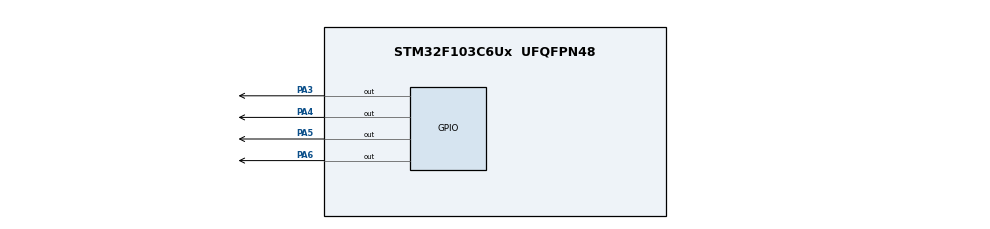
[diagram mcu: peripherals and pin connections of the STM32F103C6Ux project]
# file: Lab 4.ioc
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Mcu.Family=STM32F1
Mcu.Name=STM32F103C6Ux
Mcu.Package=UFQFPN48
NVIC.PriorityGroup=NVIC_PRIORITYGROUP_4
NVIC.TIM2_IRQn=true\:0\:0\:false\:false\:true\:true\:true
PA3.Signal=GPIO_Output
PA4.Signal=GPIO_Output
PA5.Signal=GPIO_Output
PA6.Signal=GPIO_Output
ProjectManager.HeapSize=0x200
ProjectManager.StackSize=0x400
ProjectManager.TargetToolchain=STM32CubeIDE
RCC.APB1Freq_Value=8000000
RCC.APB2Freq_Value=8000000
TIM2.Period=9
TIM2.Prescaler=7999
VP_SYS_VS_ND.Mode=No_Debug
VP_TIM2_VS_ClockSourceINT.Mode=Internal
board=custom

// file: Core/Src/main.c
/* USER CODE BEGIN Header */
/**
  ******************************************************************************
  * @file           : main.c
  * @brief          : Main program body
  ******************************************************************************
  * @attention
  *
  * <h2><center>&copy; Copyright (c) 2022 STMicroelectronics.
  * All rights reserved.</center></h2>
  *
  * This software component is licensed by ST under BSD 3-Clause license,
  * the "License"; You may not use this file except in compliance with the
  * License. You may obtain a copy of the License at:
  *                        opensource.org/licenses/BSD-3-Clause
  *
  ******************************************************************************
  */
/* USER CODE END Header */
#include "main.h"

/* USER CODE BEGIN Includes */
#include "scheduler.h"
/* USER CODE END Includes */

TIM_HandleTypeDef htim2;

void SystemClock_Config(void);
static void MX_GPIO_Init(void);
static void MX_TIM2_Init(void);

/* USER CODE BEGIN 0 */
void testLedPin3(){
	HAL_GPIO_TogglePin(GPIOA, GPIO_PIN_3);
}

void testLedPin4(){
	HAL_GPIO_TogglePin(GPIOA, GPIO_PIN_4);
}
void testLedPin5(){
	HAL_GPIO_TogglePin(GPIOA, GPIO_PIN_5);
}
void testLedPin6(){
	HAL_GPIO_TogglePin(GPIOA, GPIO_PIN_6);
}
/* USER CODE END 0 */

int main(void)
{

  /* MCU Configuration--------------------------------------------------------*/

  /* Reset of all peripherals, Initializes the Flash interface and the Systick. */
  HAL_Init();

  /* Configure the system clock */
  SystemClock_Config();

  /* Initialize all configured peripherals */
  MX_GPIO_Init();
  MX_TIM2_Init();
  /* USER CODE BEGIN 2 */
  HAL_TIM_Base_Start_IT(&htim2);
  SCH_Add_Task(testLedPin3, 50, 100);
  SCH_Add_Task(testLedPin4, 100, 100);
  SCH_Add_Task(testLedPin5, 150, 100);
  SCH_Add_Task(testLedPin6, 200, 100);
  /* USER CODE END 2 */

  /* Infinite loop */
  while (1)
  {
	  SCH_Dispatch_Tasks();
  }
}

void SystemClock_Config(void)
{
  RCC_OscInitTypeDef RCC_OscInitStruct = {0};
  RCC_ClkInitTypeDef RCC_ClkInitStruct = {0};

  /** Initializes the RCC Oscillators according to the specified parameters
  * in the RCC_OscInitTypeDef structure.
  */
  RCC_OscInitStruct.OscillatorType = RCC_OSCILLATORTYPE_HSI;
  RCC_OscInitStruct.HSIState = RCC_HSI_ON;
  RCC_OscInitStruct.HSICalibrationValue = RCC_HSICALIBRATION_DEFAULT;
  RCC_OscInitStruct.PLL.PLLState = RCC_PLL_NONE;
  if (HAL_RCC_OscConfig(&RCC_OscInitStruct) != HAL_OK)
  {
    Error_Handler();
  }
  /** Initializes the CPU, AHB and APB buses clocks
  */
  RCC_ClkInitStruct.ClockType = RCC_CLOCKTYPE_HCLK|RCC_CLOCKTYPE_SYSCLK
                              |RCC_CLOCKTYPE_PCLK1|RCC_CLOCKTYPE_PCLK2;
  RCC_ClkInitStruct.SYSCLKSource = RCC_SYSCLKSOURCE_HSI;
  RCC_ClkInitStruct.AHBCLKDivider = RCC_SYSCLK_DIV1;
  RCC_ClkInitStruct.APB1CLKDivider = RCC_HCLK_DIV1;
  RCC_ClkInitStruct.APB2CLKDivider = RCC_HCLK_DIV1;

  if (HAL_RCC_ClockConfig(&RCC_ClkInitStruct, FLASH_LATENCY_0) != HAL_OK)
  {
    Error_Handler();
  }
}

static void MX_TIM2_Init(void)
{

  TIM_ClockConfigTypeDef sClockSourceConfig = {0};
  TIM_MasterConfigTypeDef sMasterConfig = {0};

  htim2.Instance = TIM2;
  htim2.Init.Prescaler = 7999;
  htim2.Init.CounterMode = TIM_COUNTERMODE_UP;
  htim2.Init.Period = 9;
  htim2.Init.ClockDivision = TIM_CLOCKDIVISION_DIV1;
  htim2.Init.AutoReloadPreload = TIM_AUTORELOAD_PRELOAD_DISABLE;
  if (HAL_TIM_Base_Init(&htim2) != HAL_OK)
  {
    Error_Handler();
  }
  sClockSourceConfig.ClockSource = TIM_CLOCKSOURCE_INTERNAL;
  if (HAL_TIM_ConfigClockSource(&htim2, &sClockSourceConfig) != HAL_OK)
  {
    Error_Handler();
  }
  sMasterConfig.MasterOutputTrigger = TIM_TRGO_RESET;
  sMasterConfig.MasterSlaveMode = TIM_MASTERSLAVEMODE_DISABLE;
  if (HAL_TIMEx_MasterConfigSynchronization(&htim2, &sMasterConfig) != HAL_OK)
  {
    Error_Handler();
  }

}

static void MX_GPIO_Init(void)
{
  GPIO_InitTypeDef GPIO_InitStruct = {0};

  /* GPIO Ports Clock Enable */
  __HAL_RCC_GPIOA_CLK_ENABLE();

  /*Configure GPIO pin Output Level */
  HAL_GPIO_WritePin(GPIOA, GPIO_PIN_3|GPIO_PIN_4|GPIO_PIN_5|GPIO_PIN_6, GPIO_PIN_RESET);

  /*Configure GPIO pins : PA3 PA4 PA5 PA6 */
  GPIO_InitStruct.Pin = GPIO_PIN_3|GPIO_PIN_4|GPIO_PIN_5|GPIO_PIN_6;
  GPIO_InitStruct.Mode = GPIO_MODE_OUTPUT_PP;
  GPIO_InitStruct.Pull = GPIO_NOPULL;
  GPIO_InitStruct.Speed = GPIO_SPEED_FREQ_LOW;
  HAL_GPIO_Init(GPIOA, &GPIO_InitStruct);

}

/* USER CODE BEGIN 4 */
int counter = 100;
void HAL_TIM_PeriodElapsedCallback(TIM_HandleTypeDef *htim) {
	SCH_Update();
}
/* USER CODE END 4 */

void Error_Handler(void)
{
  __disable_irq();
  while (1)
  {
  }
}

/************************ (C) COPYRIGHT STMicroelectronics *****END OF FILE****/
